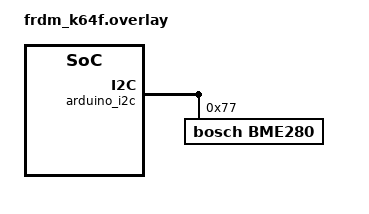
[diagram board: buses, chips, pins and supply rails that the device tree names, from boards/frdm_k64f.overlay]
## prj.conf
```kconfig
CONFIG_STDOUT_CONSOLE=y
CONFIG_SENSOR=y
CONFIG_SENSOR_ASYNC_API=y
```

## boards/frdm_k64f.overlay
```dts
/*
 * Copyright (c) 2023 Ian Morris
 *
 * SPDX-License-Identifier: Apache-2.0
 */

 / {
	aliases {
		dht0 = &bme280;
	};
};

 &arduino_i2c {
	status = "okay";

	bme280: bme280@77 {
		compatible = "bosch,bme280";
		status = "okay";
		reg  = <0x77>;
		};
};
```

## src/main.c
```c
/*
 * Copyright (c) 2023 Ian Morris
 *
 * SPDX-License-Identifier: Apache-2.0
 */

#include <stdio.h>
#include <stdlib.h>

#include <zephyr/device.h>
#include <zephyr/sys/util_macro.h>
#include <zephyr/kernel.h>
#include <zephyr/drivers/sensor.h>
#include <zephyr/drivers/sensor_data_types.h>
#include <zephyr/rtio/rtio.h>
#include <zephyr/dsp/print_format.h>

#define DHT_ALIAS(i) DT_ALIAS(_CONCAT(dht, i))
#define DHT_DEVICE(i, _)                                                      \
	IF_ENABLED(DT_NODE_EXISTS(DHT_ALIAS(i)), (DEVICE_DT_GET(DHT_ALIAS(i)),))

/* Support up to 10 temperature/humidity sensors */
static const struct device *const sensors[] = {LISTIFY(10, DHT_DEVICE, ())};

#define DHT_IODEV(i, _)                                                      \
	IF_ENABLED(DT_NODE_EXISTS(DHT_ALIAS(i)),                                 \
		(SENSOR_DT_READ_IODEV(_CONCAT(dht_iodev, i), DHT_ALIAS(i),           \
		{SENSOR_CHAN_AMBIENT_TEMP, 0},                                       \
		{SENSOR_CHAN_HUMIDITY, 0})))

LISTIFY(10, DHT_IODEV, (;));

#define DHT_IODEV_REF(i, _)                                                   \
	COND_CODE_1(DT_NODE_EXISTS(DHT_ALIAS(i)), (CONCAT(&dht_iodev, i)), (NULL))

static struct rtio_iodev *dht_iodev[] = { LISTIFY(10, DHT_IODEV_REF, (,)) };

RTIO_DEFINE(dht_ctx, 1, 1);

int main(void)
{
	int rc;

	for (size_t i = 0; i < ARRAY_SIZE(sensors); i++) {
		if (!device_is_ready(sensors[i])) {
			printk("sensor: device %s not ready.\n", sensors[i]->name);
			return 0;
		}
	}

	while (1) {
		for (size_t i = 0; i < ARRAY_SIZE(sensors); i++) {
			struct device *dev = (struct device *) sensors[i];

			uint8_t buf[128];

			rc = sensor_read(dht_iodev[i], &dht_ctx, buf, 128);

			if (rc != 0) {
				printk("%s: sensor_read() failed: %d\n", dev->name, rc);
				return rc;
			}

			const struct sensor_decoder_api *decoder;

			rc = sensor_get_decoder(dev, &decoder);

			if (rc != 0) {
				printk("%s: sensor_get_decode() failed: %d\n", dev->name, rc);
				return rc;
			}

			uint32_t temp_fit = 0;
			uint8_t temp_buf[64];

			decoder->decode(buf,
					(struct sensor_chan_spec) {SENSOR_CHAN_AMBIENT_TEMP, 0},
					&temp_fit, 1, temp_buf);

			struct sensor_q31_data *temp_data =
					(struct sensor_q31_data *) temp_buf;

			uint32_t hum_fit = 0;
			uint8_t hum_buf[64];

			decoder->decode(buf,
					(struct sensor_chan_spec) {SENSOR_CHAN_HUMIDITY, 0},
					&hum_fit, 1, hum_buf);

			struct sensor_q31_data *hum_data =
					(struct sensor_q31_data *) hum_buf;

			printk("%16s: temp is %s%d.%d °C humidity is %s%d.%d RH\n", dev->name,
				PRIq_arg(temp_data->readings[0].temperature, 2, temp_data->shift),
				PRIq_arg(hum_data->readings[0].humidity, 2, hum_data->shift));
		}
		k_msleep(1000);
	}
	return 0;
}
```
